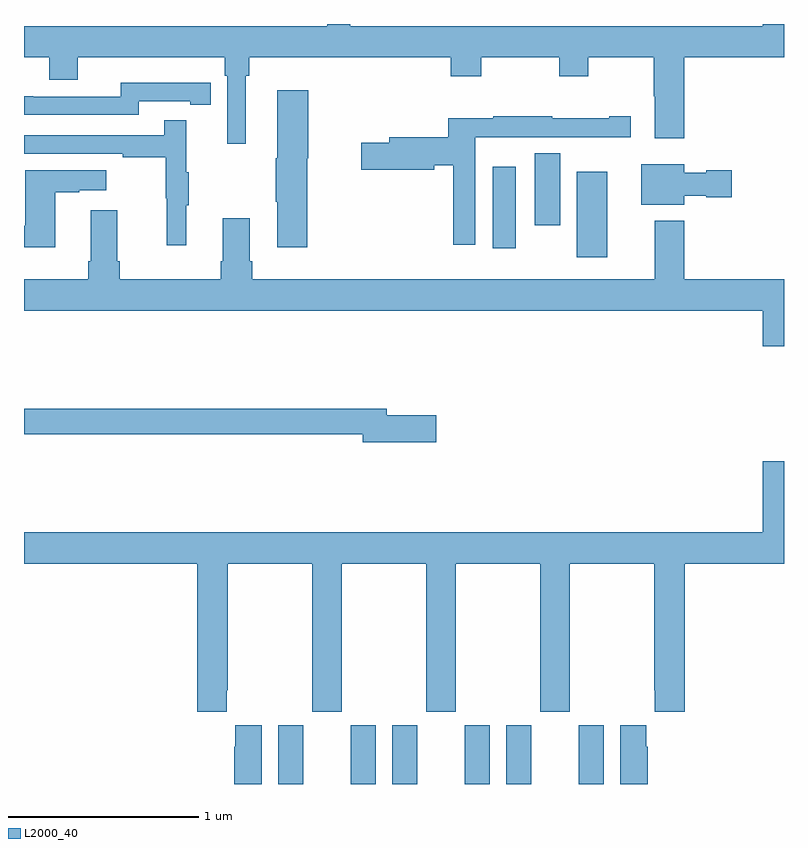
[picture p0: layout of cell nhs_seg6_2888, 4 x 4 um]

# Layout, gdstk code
import gdstk
lib = gdstk.Library(unit=1e-6, precision=1e-09)
def R(c, l, rs):  # rectangles x0, y0, x1, y1
    for r in rs: c.add(gdstk.rectangle(r[:2], r[2:], *l))
def P(c, l, *ps):  # polygons
    for p in ps: c.add(gdstk.Polygon(p, *l))
L2000_40 = (2000, 40)

nhs_seg6_2888 = lib.new_cell('nhs_seg6_2888')
R(nhs_seg6_2888, L2000_40, [(282.338,955.5,282.469,955.81), (282.719,955.5,282.85,955.81), (282.938,955.5,283.069,955.81), (283.319,955.5,283.45,955.81), (283.538,955.5,283.669,955.81), (283.919,955.5,284.05,955.81), (283.91,958.272,284.071,958.723), (283.466,958.32,283.588,958.75), (283.688,958.44,283.822,958.82)])
P(nhs_seg6_2888, L2000_40, [(282.166,959.228),(282.185,959.228),(282.185,959.324),(283.247,959.324),(283.247,959.225),(283.407,959.225),(283.407,959.324),(283.816,959.324),(283.816,959.225),(283.971,959.225),(283.971,959.324),(284.314,959.324),(284.314,959.12),(284.321,959.12),(284.321,958.899),(284.474,958.899),(284.474,959.324),(285,959.324),(285,959.5),(284.888,959.5),(284.888,959.488),(282.716,959.488),(282.716,959.5),(282.595,959.5),(282.595,959.488),(281,959.488),(281,959.324),(281.132,959.324),(281.132,959.207),(281.284,959.207),(281.284,959.324),(282.056,959.324),(282.056,959.228),(282.069,959.228),(282.069,958.869),(282.166,958.869)],
  [(281.604,959.094),(281.876,959.094),(281.876,959.074),(281.984,959.074),(281.984,959.19),(281.876,959.19),(281.876,959.191),(281.508,959.191),(281.508,959.118),(281.048,959.118),(281.048,959.12),(281,959.12),(281,959.022),(281.604,959.022)],
  [(282.491,958.794),(282.496,958.794),(282.496,959.152),(282.332,959.152),(282.332,958.794),(282.325,958.794),(282.325,958.564),(282.332,958.564),(282.332,958.326),(282.491,958.326)],
  [(283.374,958.904),(283.584,958.904),(283.584,958.905),(283.918,958.905),(283.918,958.904),(284.194,958.904),(284.194,959.014),(284.081,959.014),(284.081,959.004),(283.781,959.004),(283.781,959.014),(283.471,959.014),(283.471,959.004),(283.232,959.004),(283.232,958.905),(282.923,958.905),(282.923,958.875),(282.774,958.875),(282.774,958.733),(283.158,958.733),(283.158,958.757),(283.258,958.757),(283.258,958.338),(283.374,958.338)],
  [(281.855,958.547),(281.866,958.547),(281.866,958.721),(281.855,958.721),(281.855,958.993),(281.737,958.993),(281.737,958.914),(281,958.914),(281,958.818),(281.521,958.818),(281.521,958.798),(281.745,958.798),(281.745,958.584),(281.752,958.584),(281.752,958.335),(281.855,958.335)],
  [(284.476,958.595),(284.592,958.595),(284.592,958.588),(284.725,958.588),(284.725,958.73),(284.592,958.73),(284.592,958.717),(284.476,958.717),(284.476,958.762),(284.249,958.762),(284.249,958.55),(284.476,958.55)],
  [(281.164,958.615),(281.291,958.615),(281.291,958.625),(281.434,958.625),(281.434,958.729),(281.006,958.729),(281.006,958.438),(281,958.438),(281,958.326),(281.164,958.326)],
  [(285,958.156),(284.474,958.156),(284.474,958.465),(284.321,958.465),(284.321,958.156),(282.2,958.156),(282.2,958.252),(282.187,958.252),(282.187,958.477),(282.047,958.477),(282.047,958.252),(282.035,958.252),(282.035,958.156),(281.504,958.156),(281.504,958.252),(281.491,958.252),(281.491,958.519),(281.351,958.519),(281.351,958.252),(281.339,958.252),(281.339,958.156),(281,958.156),(281,957.992),(284.888,957.992),(284.888,957.804),(285,957.804)],
  [(283.171,957.44),(282.91,957.44),(282.91,957.476),(281,957.476),(281,957.34),(282.782,957.34),(282.782,957.298),(283.171,957.298)],
  [(282.067,955.993),(282.072,955.993),(282.072,956.66),(282.517,956.66),(282.517,955.881),(282.672,955.881),(282.672,956.66),(283.117,956.66),(283.117,955.881),(283.272,955.881),(283.272,956.66),(283.717,956.66),(283.717,955.881),(283.872,955.881),(283.872,956.66),(284.317,956.66),(284.317,955.993),(284.321,955.993),(284.321,955.881),(284.477,955.881),(284.477,956.66),(285,956.66),(285,957.199),(284.888,957.199),(284.888,956.824),(281,956.824),(281,956.66),(281.912,956.66),(281.912,955.881),(282.067,955.881)],
  [(282.25,955.81),(282.113,955.81),(282.113,955.697),(282.107,955.697),(282.107,955.5),(282.25,955.5)],
  [(284.282,955.697),(284.275,955.697),(284.275,955.81),(284.138,955.81),(284.138,955.5),(284.282,955.5)])

lib.write_gds('nhs_seg6_2888.gds')
